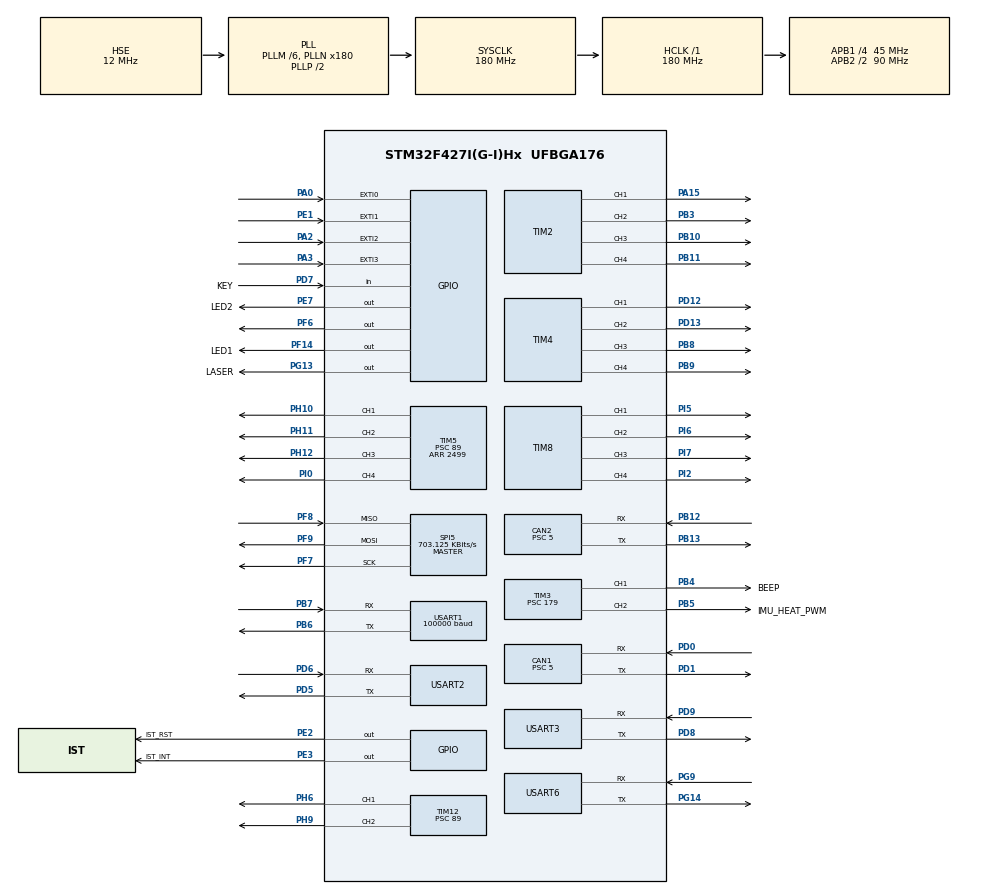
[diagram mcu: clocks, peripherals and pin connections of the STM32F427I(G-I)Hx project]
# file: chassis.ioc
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CAN1.ABOM=ENABLE
CAN1.BS1=CAN_BS1_3TQ
CAN1.BS2=CAN_BS2_5TQ
CAN1.CalculateTimeBit=1000
CAN1.CalculateTimeQuantum=111.11111111111111
CAN1.Prescaler=5
CAN1.SJW=CAN_SJW_1TQ
CAN2.ABOM=ENABLE
CAN2.BS1=CAN_BS1_3TQ
CAN2.BS2=CAN_BS2_5TQ
CAN2.CalculateTimeBit=1000
CAN2.CalculateTimeQuantum=111.11111111111111
CAN2.Prescaler=5
CAN2.SJW=CAN_SJW_4TQ
Dma.Request0=USART1_RX
Dma.Request1=USART2_RX
Dma.Request2=USART3_RX
Dma.Request3=USART6_RX
Dma.Request4=USART2_TX
Dma.USART1_RX.0.Direction=DMA_PERIPH_TO_MEMORY
Dma.USART1_RX.0.FIFOMode=DMA_FIFOMODE_DISABLE
Dma.USART1_RX.0.Instance=DMA2_Stream2
Dma.USART1_RX.0.MemDataAlignment=DMA_MDATAALIGN_BYTE
Dma.USART1_RX.0.MemInc=DMA_MINC_ENABLE
Dma.USART1_RX.0.Mode=DMA_NORMAL
Dma.USART1_RX.0.PeriphDataAlignment=DMA_PDATAALIGN_BYTE
Dma.USART1_RX.0.PeriphInc=DMA_PINC_DISABLE
Dma.USART1_RX.0.Priority=DMA_PRIORITY_LOW
Dma.USART2_RX.1.Direction=DMA_PERIPH_TO_MEMORY
Dma.USART2_RX.1.FIFOMode=DMA_FIFOMODE_DISABLE
Dma.USART2_RX.1.Instance=DMA1_Stream5
Dma.USART2_RX.1.MemDataAlignment=DMA_MDATAALIGN_BYTE
Dma.USART2_RX.1.MemInc=DMA_MINC_ENABLE
Dma.USART2_RX.1.Mode=DMA_NORMAL
Dma.USART2_RX.1.PeriphDataAlignment=DMA_PDATAALIGN_BYTE
Dma.USART2_RX.1.PeriphInc=DMA_PINC_DISABLE
Dma.USART2_RX.1.Priority=DMA_PRIORITY_LOW
Dma.USART2_TX.4.Direction=DMA_MEMORY_TO_PERIPH
Dma.USART2_TX.4.FIFOMode=DMA_FIFOMODE_DISABLE
Dma.USART2_TX.4.Instance=DMA1_Stream6
Dma.USART2_TX.4.MemDataAlignment=DMA_MDATAALIGN_BYTE
Dma.USART2_TX.4.MemInc=DMA_MINC_ENABLE
Dma.USART2_TX.4.Mode=DMA_NORMAL
Dma.USART2_TX.4.PeriphDataAlignment=DMA_PDATAALIGN_BYTE
Dma.USART2_TX.4.PeriphInc=DMA_PINC_DISABLE
Dma.USART2_TX.4.Priority=DMA_PRIORITY_LOW
Dma.USART3_RX.2.Direction=DMA_PERIPH_TO_MEMORY
Dma.USART3_RX.2.FIFOMode=DMA_FIFOMODE_DISABLE
Dma.USART3_RX.2.Instance=DMA1_Stream1
Dma.USART3_RX.2.MemDataAlignment=DMA_MDATAALIGN_BYTE
Dma.USART3_RX.2.MemInc=DMA_MINC_ENABLE
Dma.USART3_RX.2.Mode=DMA_NORMAL
Dma.USART3_RX.2.PeriphDataAlignment=DMA_PDATAALIGN_BYTE
Dma.USART3_RX.2.PeriphInc=DMA_PINC_DISABLE
Dma.USART3_RX.2.Priority=DMA_PRIORITY_LOW
Dma.USART6_RX.3.Direction=DMA_PERIPH_TO_MEMORY
Dma.USART6_RX.3.FIFOMode=DMA_FIFOMODE_DISABLE
Dma.USART6_RX.3.Instance=DMA2_Stream1
Dma.USART6_RX.3.MemDataAlignment=DMA_MDATAALIGN_BYTE
Dma.USART6_RX.3.MemInc=DMA_MINC_ENABLE
Dma.USART6_RX.3.Mode=DMA_NORMAL
Dma.USART6_RX.3.PeriphDataAlignment=DMA_PDATAALIGN_BYTE
Dma.USART6_RX.3.PeriphInc=DMA_PINC_DISABLE
Dma.USART6_RX.3.Priority=DMA_PRIORITY_LOW
FREERTOS.Tasks01=defaultTask,0,128,StartDefaultTask,Default
Mcu.Family=STM32F4
Mcu.Name=STM32F427I(G-I)Hx
Mcu.Package=UFBGA176
NVIC.CAN1_RX0_IRQn=true\:5\:0\:false\:false\:true\:true
NVIC.CAN1_TX_IRQn=true\:5\:0\:false\:false\:true\:true
NVIC.CAN2_RX0_IRQn=true\:0\:0\:false\:false\:true\:false
NVIC.CAN2_TX_IRQn=true\:0\:0\:false\:false\:true\:false
NVIC.DMA1_Stream1_IRQn=true\:5\:0\:false\:false\:true\:true
NVIC.DMA1_Stream5_IRQn=true\:5\:0\:false\:false\:true\:true
NVIC.DMA1_Stream6_IRQn=true\:5\:0\:false\:false\:true\:true
NVIC.DMA2_Stream1_IRQn=true\:5\:0\:false\:false\:true\:true
NVIC.DMA2_Stream2_IRQn=true\:5\:0\:false\:false\:true\:true
NVIC.PriorityGroup=NVIC_PRIORITYGROUP_4
NVIC.TIM6_DAC_IRQn=true\:0\:0\:false\:false\:true\:false
NVIC.TimeBase=TIM6_DAC_IRQn
NVIC.TimeBaseIP=TIM6
NVIC.USART1_IRQn=true\:5\:0\:false\:false\:true\:true
NVIC.USART2_IRQn=true\:0\:0\:false\:false\:true\:false
NVIC.USART3_IRQn=true\:0\:0\:false\:false\:true\:false
NVIC.USART6_IRQn=true\:5\:0\:false\:false\:true\:true
PA0/WKUP.Signal=GPXTI0
PA13.Mode=Serial_Wire
PA13.Signal=SYS_JTMS-SWDIO
PA14.Mode=Serial_Wire
PA14.Signal=SYS_JTCK-SWCLK
PA15.Signal=S_TIM2_CH1_ETR
PA2.Signal=GPXTI2
PA3.Signal=GPXTI3
PB10.Signal=S_TIM2_CH3
PB11.Signal=S_TIM2_CH4
PB12.Mode=Slave
PB12.Signal=CAN2_RX
PB13.Mode=Slave
PB13.Signal=CAN2_TX
PB3.Signal=S_TIM2_CH2
PB4.GPIO_Label=BEEP
PB4.Signal=S_TIM3_CH1
PB5.GPIO_Label=IMU_HEAT_PWM
PB5.Signal=S_TIM3_CH2
PB6.Mode=Asynchronous
PB6.Signal=USART1_TX
PB7.Mode=Asynchronous
PB7.Signal=USART1_RX
PB8.Signal=S_TIM4_CH3
PB9.Signal=S_TIM4_CH4
PD0.Mode=Master
PD0.Signal=CAN1_RX
PD1.Mode=Master
PD1.Signal=CAN1_TX
PD12.Signal=S_TIM4_CH1
PD13.Signal=S_TIM4_CH2
PD5.Mode=Asynchronous
PD5.Signal=USART2_TX
PD6.Mode=Asynchronous
PD6.Signal=USART2_RX
PD7.GPIO_Label=KEY
PD7.Signal=GPIO_Input
PD8.Mode=Asynchronous
PD8.Signal=USART3_TX
PD9.Mode=Asynchronous
PD9.Signal=USART3_RX
PE1.GPIO_ModeDefaultEXTI=GPIO_MODE_IT_FALLING
PE1.GPIO_PuPd=GPIO_PULLUP
PE1.Signal=GPXTI1
PE2.GPIO_Label=IST_RST
PE2.PinState=GPIO_PIN_SET
PE2.Signal=GPIO_Output
PE3.GPIO_Label=IST_INT
PE3.Signal=GPIO_Output
PE7.GPIO_Label=LED2
PE7.Signal=GPIO_Output
PF14.GPIO_Label=LED1
PF14.Signal=GPIO_Output
PF6.Signal=GPIO_Output
PF7.Mode=Full_Duplex_Master
PF7.Signal=SPI5_SCK
PF8.Mode=Full_Duplex_Master
PF8.Signal=SPI5_MISO
PF9.Mode=Full_Duplex_Master
PF9.Signal=SPI5_MOSI
PG13.GPIO_Label=LASER
PG13.Signal=GPIO_Output
PG14.Mode=Asynchronous
PG14.Signal=USART6_TX
PG9.Mode=Asynchronous
PG9.Signal=USART6_RX
PH0/OSC_IN.Mode=HSE-External-Oscillator
PH0/OSC_IN.Signal=RCC_OSC_IN
PH1/OSC_OUT.Mode=HSE-External-Oscillator
PH1/OSC_OUT.Signal=RCC_OSC_OUT
PH10.Signal=S_TIM5_CH1
PH11.Signal=S_TIM5_CH2
PH12.Signal=S_TIM5_CH3
PH6.Signal=S_TIM12_CH1
PH9.Signal=S_TIM12_CH2
PI0.Signal=S_TIM5_CH4
PI2.Signal=S_TIM8_CH4
PI5.Signal=S_TIM8_CH1
PI6.Signal=S_TIM8_CH2
PI7.Signal=S_TIM8_CH3
ProjectManager.HeapSize=0x200
ProjectManager.StackSize=0x400
ProjectManager.TargetToolchain=Makefile
RCC.48MHZClocksFreq_Value=90000000
RCC.AHBFreq_Value=180000000
RCC.APB1CLKDivider=RCC_HCLK_DIV4
RCC.APB1Freq_Value=45000000
RCC.APB1TimFreq_Value=90000000
RCC.APB2CLKDivider=RCC_HCLK_DIV2
RCC.APB2Freq_Value=90000000
RCC.APB2TimFreq_Value=180000000
RCC.CortexFreq_Value=180000000
RCC.HCLKFreq_Value=180000000
RCC.HSE_VALUE=12000000
RCC.HSI_VALUE=16000000
RCC.LSE_VALUE=32768
RCC.PLLM=6
RCC.PLLN=180
RCC.PLLSourceVirtual=RCC_PLLSOURCE_HSE
RCC.SYSCLKFreq_VALUE=180000000
RCC.SYSCLKSource=RCC_SYSCLKSOURCE_PLLCLK
RCC.VCOOutputFreq_Value=360000000
SH.S_TIM12_CH1.0=TIM12_CH1,PWM Generation1 CH1
SH.S_TIM12_CH2.0=TIM12_CH2,PWM Generation2 CH2
SH.S_TIM2_CH1_ETR.0=TIM2_CH1,PWM Generation1 CH1
SH.S_TIM2_CH2.0=TIM2_CH2,PWM Generation2 CH2
SH.S_TIM2_CH3.0=TIM2_CH3,PWM Generation3 CH3
SH.S_TIM2_CH4.0=TIM2_CH4,PWM Generation4 CH4
SH.S_TIM3_CH1.0=TIM3_CH1,PWM Generation1 CH1
SH.S_TIM3_CH2.0=TIM3_CH2,PWM Generation2 CH2
SH.S_TIM4_CH1.0=TIM4_CH1,PWM Generation1 CH1
SH.S_TIM4_CH2.0=TIM4_CH2,PWM Generation2 CH2
SH.S_TIM4_CH3.0=TIM4_CH3,PWM Generation3 CH3
SH.S_TIM4_CH4.0=TIM4_CH4,PWM Generation4 CH4
SH.S_TIM5_CH1.0=TIM5_CH1,PWM Generation1 CH1
SH.S_TIM5_CH2.0=TIM5_CH2,PWM Generation2 CH2
SH.S_TIM5_CH3.0=TIM5_CH3,PWM Generation3 CH3
SH.S_TIM5_CH4.0=TIM5_CH4,PWM Generation4 CH4
SH.S_TIM8_CH1.0=TIM8_CH1,PWM Generation1 CH1
SH.S_TIM8_CH2.0=TIM8_CH2,PWM Generation2 CH2
SH.S_TIM8_CH3.0=TIM8_CH3,PWM Generation3 CH3
SH.S_TIM8_CH4.0=TIM8_CH4,PWM Generation4 CH4
SPI5.BaudRatePrescaler=SPI_BAUDRATEPRESCALER_128
SPI5.CalculateBaudRate=703.125 KBits/s
SPI5.Direction=SPI_DIRECTION_2LINES
SPI5.Mode=SPI_MODE_MASTER
SPI5.VirtualType=VM_MASTER
TIM12.Channel-PWM\ Generation1\ CH1=TIM_CHANNEL_1
TIM12.Channel-PWM\ Generation2\ CH2=TIM_CHANNEL_2
TIM12.Period=2499
TIM12.Prescaler=89
TIM12.Pulse-PWM\ Generation1\ CH1=1000
TIM12.Pulse-PWM\ Generation2\ CH2=1000
TIM2.Channel-PWM\ Generation1\ CH1=TIM_CHANNEL_1
TIM2.Channel-PWM\ Generation2\ CH2=TIM_CHANNEL_2
TIM2.Channel-PWM\ Generation3\ CH3=TIM_CHANNEL_3
TIM2.Channel-PWM\ Generation4\ CH4=TIM_CHANNEL_4
TIM3.Channel-PWM\ Generation1\ CH1=TIM_CHANNEL_1
TIM3.Channel-PWM\ Generation2\ CH2=TIM_CHANNEL_2
TIM3.Prescaler=179
TIM4.Channel-PWM\ Generation1\ CH1=TIM_CHANNEL_1
TIM4.Channel-PWM\ Generation2\ CH2=TIM_CHANNEL_2
TIM4.Channel-PWM\ Generation3\ CH3=TIM_CHANNEL_3
TIM4.Channel-PWM\ Generation4\ CH4=TIM_CHANNEL_4
TIM5.Channel-PWM\ Generation1\ CH1=TIM_CHANNEL_1
TIM5.Channel-PWM\ Generation2\ CH2=TIM_CHANNEL_2
TIM5.Channel-PWM\ Generation3\ CH3=TIM_CHANNEL_3
TIM5.Channel-PWM\ Generation4\ CH4=TIM_CHANNEL_4
TIM5.Period=2499
TIM5.Prescaler=89
TIM5.Pulse-PWM\ Generation1\ CH1=1000
TIM5.Pulse-PWM\ Generation2\ CH2=1000
TIM8.Channel-PWM\ Generation1\ CH1=TIM_CHANNEL_1
TIM8.Channel-PWM\ Generation2\ CH2=TIM_CHANNEL_2
TIM8.Channel-PWM\ Generation3\ CH3=TIM_CHANNEL_3
TIM8.Channel-PWM\ Generation4\ CH4=TIM_CHANNEL_4
USART1.BaudRate=100000
USART1.Parity=PARITY_EVEN
USART1.VirtualMode=VM_ASYNC
USART2.VirtualMode=VM_ASYNC
USART3.VirtualMode=VM_ASYNC
USART6.VirtualMode=VM_ASYNC
VP_FREERTOS_VS_ENABLE.Mode=Enabled
VP_SYS_VS_tim6.Mode=TIM6
board=chassis

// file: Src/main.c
/**
  ******************************************************************************
  * File Name          : main.c
  * Description        : Main program body
  ******************************************************************************
  *
  * COPYRIGHT(c) 2016 STMicroelectronics
  *
  * Redistribution and use in source and binary forms, with or without
  *modification,
  * are permitted provided that the following conditions are met:
  *   1. Redistributions of source code must retain the above copyright notice,
  *      this list of conditions and the following disclaimer.
  *   2. Redistributions in binary form must reproduce the above copyright
  *notice,
  *      this list of conditions and the following disclaimer in the
  *documentation
  *      and/or other materials provided with the distribution.
  *   3. Neither the name of STMicroelectronics nor the names of its
  *contributors
  *      may be used to endorse or promote products derived from this software
  *      without specific prior written permission.
  *
  * THIS SOFTWARE IS PROVIDED BY THE COPYRIGHT HOLDERS AND CONTRIBUTORS "AS IS"
  * AND ANY EXPRESS OR IMPLIED WARRANTIES, INCLUDING, BUT NOT LIMITED TO, THE
  * IMPLIED WARRANTIES OF MERCHANTABILITY AND FITNESS FOR A PARTICULAR PURPOSE
  *ARE
  * DISCLAIMED. IN NO EVENT SHALL THE COPYRIGHT HOLDER OR CONTRIBUTORS BE LIABLE
  * FOR ANY DIRECT, INDIRECT, INCIDENTAL, SPECIAL, EXEMPLARY, OR CONSEQUENTIAL
  * DAMAGES (INCLUDING, BUT NOT LIMITED TO, PROCUREMENT OF SUBSTITUTE GOODS OR
  * SERVICES; LOSS OF USE, DATA, OR PROFITS; OR BUSINESS INTERRUPTION) HOWEVER
  * CAUSED AND ON ANY THEORY OF LIABILITY, WHETHER IN CONTRACT, STRICT
  *LIABILITY,
  * OR TORT (INCLUDING NEGLIGENCE OR OTHERWISE) ARISING IN ANY WAY OUT OF THE
  *USE
  * OF THIS SOFTWARE, EVEN IF ADVISED OF THE POSSIBILITY OF SUCH DAMAGE.
  *
  ******************************************************************************
  */
#include "can.h"
#include "cmsis_os.h"
#include "dma.h"
#include "gpio.h"
#include "spi.h"
#include "stm32f4xx_hal.h"
#include "tim.h"
#include "usart.h"
#include "shangweiji.h"
/* USER CODE BEGIN Includes */
#include "bsp_can.h"
#include "bsp_uart.h"
#include "calibrate.h"
#include "chassis_task.h"
#include "kb.h"
#include "pid.h"
/* USER CODE END Includes */

/* USER CODE BEGIN PV */
/* Private variables ---------------------------------------------------------*/

/* USER CODE END PV */

void SystemClock_Config(void);

void MX_FREERTOS_Init(void);

/* USER CODE BEGIN PFP */
/* Private function prototypes -----------------------------------------------*/

/* USER CODE END PFP */

int main(void)
{

    /* MCU
   * Configuration----------------------------------------------------------*/

    /* Reset of all peripherals, Initializes the Flash interface and the Systick.
   */
       HAL_Init();

    /* Configure the system clock */
    SystemClock_Config();

    /* Initialize all configured peripherals */
    MX_GPIO_Init();
    MX_DMA_Init();
    MX_CAN1_Init();
    MX_USART1_UART_Init();
    MX_SPI5_Init();

    MX_CAN2_Init();
    MX_TIM5_Init();
    MX_TIM2_Init();
    MX_TIM3_Init();
    MX_TIM4_Init();
    MX_TIM8_Init();
    MX_TIM12_Init();
    MX_USART2_UART_Init();
		MX_USART3_UART_Init();
		MX_USART6_UART_Init();

    /* USER CODE BEGIN 2 */
    dbus_init();
    judge_sys_init();
    shangweiji_init();
    my_can_filter_init_recv_all(&hcan1);
    my_can_filter_init_recv_all(&hcan2);

    reset_zgyro();

    HAL_Delay(2000);

		manifold_uart_init();

    HAL_CAN_Receive_IT(&hcan1, CAN_FIFO0);
    HAL_CAN_Receive_IT(&hcan2, CAN_FIFO0);

    HAL_TIM_PWM_Start(&htim5, TIM_CHANNEL_1);  // useless
    HAL_TIM_PWM_Start(&htim3, TIM_CHANNEL_2);  // imu temperature
    HAL_TIM_PWM_Start(&htim3, TIM_CHANNEL_1);  // beep
    HAL_TIM_PWM_Start(&htim12, TIM_CHANNEL_1); // friction wheel
    HAL_TIM_PWM_Start(&htim12, TIM_CHANNEL_2);

    AppParamInit();
    AppParamReadFromFlash();
    /* USER CODE END 2 */

    /* Call init function for freertos objects (in freertos.c) */
    MX_FREERTOS_Init();

    /* Start scheduler */
    osKernelStart();

    /* We should never get here as control is now taken by the scheduler */

    /* Infinite loop */
    while (1)
    {

    }
}

/** System Clock Configuration
*/
void SystemClock_Config(void)
{

    RCC_OscInitTypeDef RCC_OscInitStruct;
    RCC_ClkInitTypeDef RCC_ClkInitStruct;

    __HAL_RCC_PWR_CLK_ENABLE();

    __HAL_PWR_VOLTAGESCALING_CONFIG(PWR_REGULATOR_VOLTAGE_SCALE1);

    RCC_OscInitStruct.OscillatorType = RCC_OSCILLATORTYPE_HSE;
    RCC_OscInitStruct.HSEState       = RCC_HSE_ON;
    RCC_OscInitStruct.PLL.PLLState   = RCC_PLL_ON;
    RCC_OscInitStruct.PLL.PLLSource  = RCC_PLLSOURCE_HSE;
    RCC_OscInitStruct.PLL.PLLM       = 6;
    RCC_OscInitStruct.PLL.PLLN       = 180;
    RCC_OscInitStruct.PLL.PLLP       = RCC_PLLP_DIV2;
    RCC_OscInitStruct.PLL.PLLQ       = 4;
    if (HAL_RCC_OscConfig(&RCC_OscInitStruct) != HAL_OK)
    {
        Error_Handler();
    }

    if (HAL_PWREx_EnableOverDrive() != HAL_OK)
    {
        Error_Handler();
    }

    RCC_ClkInitStruct.ClockType      = RCC_CLOCKTYPE_HCLK | RCC_CLOCKTYPE_SYSCLK | RCC_CLOCKTYPE_PCLK1 | RCC_CLOCKTYPE_PCLK2;
    RCC_ClkInitStruct.SYSCLKSource   = RCC_SYSCLKSOURCE_PLLCLK;
    RCC_ClkInitStruct.AHBCLKDivider  = RCC_SYSCLK_DIV1;
    RCC_ClkInitStruct.APB1CLKDivider = RCC_HCLK_DIV4;
    RCC_ClkInitStruct.APB2CLKDivider = RCC_HCLK_DIV2;
    if (HAL_RCC_ClockConfig(&RCC_ClkInitStruct, FLASH_LATENCY_5) != HAL_OK)
    {
        Error_Handler();
    }

    HAL_SYSTICK_Config(HAL_RCC_GetHCLKFreq() / 1000);

    HAL_SYSTICK_CLKSourceConfig(SYSTICK_CLKSOURCE_HCLK);

    /* SysTick_IRQn interrupt configuration */
    HAL_NVIC_SetPriority(SysTick_IRQn, 15, 0);
}

void HAL_TIM_PeriodElapsedCallback(TIM_HandleTypeDef* htim)
{
    if (htim->Instance == TIM6)
    {
        HAL_IncTick();
    }
}

void _Error_Handler(char *p,int line)
{
    while (1)
    {
    }
}

#ifdef USE_FULL_ASSERT

/**
   * @brief Reports the name of the source file and the source line number
   * where the assert_param error has occurred.
   * @param file: pointer to the source file name
   * @param line: assert_param error line source number
   * @retval None
   */
void assert_failed(uint8_t* file, uint32_t line)
{
    /* USER CODE BEGIN 6 */
    /* User can add his own implementation to report the file name and line
  number,
  ex: printf("Wrong parameters value: file %s on line %d\r\n", file, line) */
    /* USER CODE END 6 */
}

#endif

/************************ (C) COPYRIGHT STMicroelectronics *****END OF FILE****/

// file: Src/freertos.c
/**
  ******************************************************************************
  * File Name          : freertos.c
  * Description        : Code for freertos applications
  ******************************************************************************
  *
  * COPYRIGHT(c) 2016 STMicroelectronics
  *
  * Redistribution and use in source and binary forms, with or without modification,
  * are permitted provided that the following conditions are met:
  *   1. Redistributions of source code must retain the above copyright notice,
  *      this list of conditions and the following disclaimer.
  *   2. Redistributions in binary form must reproduce the above copyright notice,
  *      this list of conditions and the following disclaimer in the documentation
  *      and/or other materials provided with the distribution.
  *   3. Neither the name of STMicroelectronics nor the names of its contributors
  *      may be used to endorse or promote products derived from this software
  *      without specific prior written permission.
  *
  * THIS SOFTWARE IS PROVIDED BY THE COPYRIGHT HOLDERS AND CONTRIBUTORS "AS IS"
  * AND ANY EXPRESS OR IMPLIED WARRANTIES, INCLUDING, BUT NOT LIMITED TO, THE
  * IMPLIED WARRANTIES OF MERCHANTABILITY AND FITNESS FOR A PARTICULAR PURPOSE ARE
  * DISCLAIMED. IN NO EVENT SHALL THE COPYRIGHT HOLDER OR CONTRIBUTORS BE LIABLE
  * FOR ANY DIRECT, INDIRECT, INCIDENTAL, SPECIAL, EXEMPLARY, OR CONSEQUENTIAL
  * DAMAGES (INCLUDING, BUT NOT LIMITED TO, PROCUREMENT OF SUBSTITUTE GOODS OR
  * SERVICES; LOSS OF USE, DATA, OR PROFITS; OR BUSINESS INTERRUPTION) HOWEVER
  * CAUSED AND ON ANY THEORY OF LIABILITY, WHETHER IN CONTRACT, STRICT LIABILITY,
  * OR TORT (INCLUDING NEGLIGENCE OR OTHERWISE) ARISING IN ANY WAY OUT OF THE USE
  * OF THIS SOFTWARE, EVEN IF ADVISED OF THE POSSIBILITY OF SUCH DAMAGE.
  *
  ******************************************************************************
  */

#include "FreeRTOS.h"
#include "cmsis_os.h"
#include "task.h"

/* USER CODE BEGIN Includes */
#include "bsp_uart.h"
#include "chassis_task.h"
#include "error_task.h"
#include "gimbal_task.h"
#include "kb.h"
#include <stdio.h>
//#include "imu_process.h"
/* USER CODE END Includes */

osThreadId defaultTaskHandle;

void StartDefaultTask(void const* argument);

void MX_FREERTOS_Init(void); /* (MISRA C 2004 rule 8.1) */

/* Hook prototypes */

/* Init FreeRTOS */

void MX_FREERTOS_Init(void)
{

    /* Create the thread(s) */
    /* definition and creation of defaultTask */
    osThreadDef(defaultTask, StartDefaultTask, osPriorityNormal, 0, 128);
    defaultTaskHandle = osThreadCreate(osThread(defaultTask), NULL);

    /* USER CODE BEGIN RTOS_THREADS */
    /* add threads, ... */
    osThreadDef(chassisTask, chassis_task, osPriorityNormal, 0, 128);
    osThreadCreate(osThread(chassisTask), NULL);

   //
//	 osThreadDef(gimbalTask, gimbal_task, osPriorityNormal, 0, 128);
  //  osThreadCreate(osThread(gimbalTask), NULL);

    osThreadDef(errTask, detect_task, osPriorityNormal, 0, 128);
    osThreadCreate(osThread(errTask), NULL);

    //	extern void imu_task(const void *);
    //	osThreadDef(imuTask, imu_task, osPriorityNormal, 0, 512);
    //  osThreadCreate(osThread(imuTask), NULL);

    /* USER CODE END RTOS_THREADS */

}

/* StartDefaultTask function */
void StartDefaultTask(void const* argument)
{

    /* USER CODE BEGIN StartDefaultTask */
    /* Infinite loop */
    for (;;)
    {
        HAL_Delay(1000);
        osDelay(100);
    }
    /* USER CODE END StartDefaultTask */
}

/************************ (C) COPYRIGHT STMicroelectronics *****END OF FILE****/
